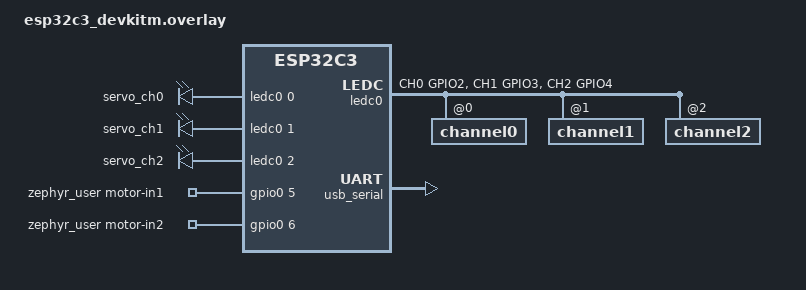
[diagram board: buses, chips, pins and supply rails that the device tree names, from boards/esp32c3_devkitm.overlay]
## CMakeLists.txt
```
cmake_minimum_required(VERSION 3.20.0)
find_package(Zephyr REQUIRED HINTS $ENV{ZEPHYR_BASE})

project(cyberbrick_lone VERSION 1.0.0)

target_sources(app PRIVATE
    src/main.c
    src/servo.c
    src/dc_motor.c
    src/web_server.c
    src/shell_cmds.c
)
```

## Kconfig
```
mainmenu "Cyberbrick L-ONE Robotic Arm"

config CYBERBRICK_WIFI_SSID
    string "SoftAP SSID"
    default "cyberbrick"
    help
      SSID broadcast by the on-board WiFi Access Point.

config CYBERBRICK_WIFI_PASSWORD
    string "SoftAP password (WPA2-PSK, empty = open network)"
    default "cyberbrick"
    help
      WPA2-PSK passphrase. Must be 8..63 characters, or empty for an
      open (no-security) network.

config CYBERBRICK_WIFI_CHANNEL
    int "SoftAP 2.4 GHz channel"
    default 6
    range 1 13
    help
      WiFi channel for the SoftAP. 1, 6, and 11 are non-overlapping.

config CYBERBRICK_AP_IP
    string "SoftAP IPv4 address (gateway)"
    default "192.168.4.1"
    help
      Static IPv4 address assigned to the AP interface. Clients reach
      the web UI at http://<this address>/. The DHCP pool starts 10
      addresses above this and serves the next 8 addresses.

config CYBERBRICK_AP_NETMASK
    string "SoftAP IPv4 netmask"
    default "255.255.255.0"

config CYBERBRICK_WEB_PORT
    int "Web server port"
    default 80
    range 1 65535
    help
      TCP port for the embedded HTTP server.

config CYBERBRICK_SERVO_MIN_US
    int "Servo minimum pulse width (microseconds)"
    default 500
    help
      Pulse width in us corresponding to 0 degrees.

config CYBERBRICK_SERVO_MAX_US
    int "Servo maximum pulse width (microseconds)"
    default 2500
    help
      Pulse width in us corresponding to 180 degrees.

source "Kconfig.zephyr"
```

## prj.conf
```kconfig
# ── Application ────────────────────────────────────────────────────────────────
CONFIG_CYBERBRICK_WIFI_SSID="cyberbrick"
CONFIG_CYBERBRICK_WIFI_PASSWORD="cyberbrick"
CONFIG_CYBERBRICK_WEB_PORT=80

# ── Heap / stack ────────────────────────────────────────────────────────────────
CONFIG_MAIN_STACK_SIZE=8192
CONFIG_SYSTEM_WORKQUEUE_STACK_SIZE=4096
CONFIG_HEAP_MEM_POOL_SIZE=65536

# ── GPIO ────────────────────────────────────────────────────────────────────────
CONFIG_GPIO=y

# ── PWM (LEDC on ESP32-S3) ──────────────────────────────────────────────────────
CONFIG_PWM=y

# ── Networking ──────────────────────────────────────────────────────────────────
CONFIG_NETWORKING=y
CONFIG_NET_IPV4=y
CONFIG_NET_TCP=y
CONFIG_NET_SOCKETS=y
CONFIG_NET_CONTEXT_RCVTIMEO=y

CONFIG_NET_BUF_RX_COUNT=16
CONFIG_NET_BUF_TX_COUNT=32
CONFIG_NET_PKT_RX_COUNT=8
CONFIG_NET_PKT_TX_COUNT=16
CONFIG_NET_BUF_DATA_SIZE=1280

CONFIG_NET_MAX_CONTEXTS=24
CONFIG_NET_MAX_CONN=24
CONFIG_NET_CONNECTION_MANAGER=y
CONFIG_NET_DHCPV4_SERVER=y
CONFIG_NET_DHCPV4_SERVER_ADDR_COUNT=8

# Recycle TIME_WAIT sockets quickly so contexts don't linger.
CONFIG_NET_TCP_TIME_WAIT_DELAY=250

# Required so net_mgmt callbacks receive the event payload via cb->info
CONFIG_NET_MGMT=y
CONFIG_NET_MGMT_EVENT=y
CONFIG_NET_MGMT_EVENT_INFO=y

# ── WiFi (SoftAP mode) ─────────────────────────────────────────────────────────
CONFIG_WIFI=y
CONFIG_WIFI_USAGE_MODE_AP=y
CONFIG_WIFI_LOG_LEVEL_WRN=y
CONFIG_NET_L2_ETHERNET=y
CONFIG_NET_L2_WIFI_MGMT=y
CONFIG_NET_L2_WIFI_SHELL=n

# ── Net logs (keep INF; flip to DBG if Wi-Fi misbehaves) ────────────────────────
CONFIG_NET_LOG=y
CONFIG_LOG_BUFFER_SIZE=4096

# ── ESP32 WiFi driver ───────────────────────────────────────────────────────────
# (No auto-DHCPv4 client — we run a DHCP server instead.)

# ── Logging ─────────────────────────────────────────────────────────────────────
CONFIG_LOG=y
CONFIG_LOG_DEFAULT_LEVEL=3
CONFIG_PRINTK=y

# ── Console (USB-Serial/JTAG on ESP32-S3) ──────────────────────────────────────
CONFIG_SERIAL=y
CONFIG_CONSOLE=y
CONFIG_UART_CONSOLE=y

# ── Shell (servo / motor commands) ────────────────────────────────────────────────
CONFIG_SHELL=y
CONFIG_SHELL_BACKEND_SERIAL=y
CONFIG_SHELL_PROMPT_UART="cyberbrick:~$ "
CONFIG_SHELL_STACK_SIZE=4096
CONFIG_KERNEL_SHELL=y

# ── Threads ─────────────────────────────────────────────────────────────────────
CONFIG_THREAD_NAME=y
CONFIG_POSIX_API=y
```

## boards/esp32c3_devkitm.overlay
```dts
/*
 * ESP32-C3 DevKitM / Super Mini — Cyberbrick L-ONE overlay
 *
 * Pin assignments (adjust to match your wiring):
 *   Servo 0 → GPIO 2  (LEDC channel 0)
 *   Servo 1 → GPIO 3  (LEDC channel 1)
 *   Servo 2 → GPIO 4  (LEDC channel 2)
 *   DC motor IN1 → GPIO 5
 *   DC motor IN2 → GPIO 6
 *
 * Console is routed to the native USB Serial/JTAG so a single USB-C
 * cable carries flash + logs + shell (matches the S3 board behavior).
 * If your DevKitM is wired to use the on-board CP210x/CH340 UART
 * bridge instead, comment out the chosen{} block below to fall back
 * to uart0.
 */

#include <zephyr/dt-bindings/pwm/pwm.h>

/ {
    chosen {
        zephyr,console = &usb_serial;
        zephyr,shell-uart = &usb_serial;
        zephyr,uart-mcumgr = &usb_serial;
    };

    aliases {
        servo0 = &servo_ch0;
        servo1 = &servo_ch1;
        servo2 = &servo_ch2;
    };

    servo_pwms {
        compatible = "pwm-leds";
        status = "okay";

        /* 20 ms period = 50 Hz, matching standard hobby servo */
        servo_ch0: servo_0 {
            pwms = <&ledc0 0 20000000 PWM_POLARITY_NORMAL>;
        };
        servo_ch1: servo_1 {
            pwms = <&ledc0 1 20000000 PWM_POLARITY_NORMAL>;
        };
        servo_ch2: servo_2 {
            pwms = <&ledc0 2 20000000 PWM_POLARITY_NORMAL>;
        };
    };

    /* DC motor GPIO lines accessed via zephyr,user */
    zephyr_user: zephyr,user {
        motor-in1-gpios = <&gpio0 5 GPIO_ACTIVE_HIGH>;
        motor-in2-gpios = <&gpio0 6 GPIO_ACTIVE_HIGH>;
    };
};

&ledc0 {
    pinctrl-0 = <&ledc0_default>;
    pinctrl-names = "default";
    status = "okay";
    #address-cells = <1>;
    #size-cells = <0>;

    channel0@0 {
        reg = <0x0>;
        timer = <0>;
    };
    channel1@1 {
        reg = <0x1>;
        timer = <0>;
    };
    channel2@2 {
        reg = <0x2>;
        timer = <0>;
    };
};

&pinctrl {
    ledc0_default: ledc0_default {
        group1 {
            pinmux = <LEDC_CH0_GPIO2>,
                     <LEDC_CH1_GPIO3>,
                     <LEDC_CH2_GPIO4>;
            output-enable;
        };
    };
};

&usb_serial {
    status = "okay";
};
```

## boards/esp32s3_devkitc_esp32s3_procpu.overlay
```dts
/*
 * ESP32-S3 Super Mini — Cyberbrick L-ONE overlay
 *
 * Pin assignments (adjust to match your wiring):
 *   Servo 0 → GPIO 1  (LEDC channel 0)
 *   Servo 1 → GPIO 9  (LEDC channel 1)
 *   Servo 2 → GPIO 2  (LEDC channel 2)
 *   DC motor IN1 → GPIO 10
 *   DC motor IN2 → GPIO 11
 */

#include <zephyr/dt-bindings/pwm/pwm.h>

/ {
    chosen {
        zephyr,console = &usb_serial;
        zephyr,shell-uart = &usb_serial;
        zephyr,uart-mcumgr = &usb_serial;
    };

    aliases {
        servo0   = &servo_ch0;
        servo1   = &servo_ch1;
        servo2   = &servo_ch2;
    };

    servo_pwms {
        compatible = "pwm-leds";
        status = "okay";

        /* 20 ms period = 50 Hz, matching standard hobby servo */
        servo_ch0: servo_0 {
            pwms = <&ledc0 0 20000000 PWM_POLARITY_NORMAL>;
        };
        servo_ch1: servo_1 {
            pwms = <&ledc0 1 20000000 PWM_POLARITY_NORMAL>;
        };
        servo_ch2: servo_2 {
            pwms = <&ledc0 2 20000000 PWM_POLARITY_NORMAL>;
        };
    };

    /* DC motor GPIO lines accessed via zephyr,user */
    zephyr_user: zephyr,user {
        motor-in1-gpios = <&gpio0 10 GPIO_ACTIVE_HIGH>;
        motor-in2-gpios = <&gpio0 11 GPIO_ACTIVE_HIGH>;
    };
};

&ledc0 {
    pinctrl-0 = <&ledc0_default>;
    pinctrl-names = "default";
    status = "okay";
    #address-cells = <1>;
    #size-cells = <0>;

    channel0@0 {
        reg = <0x0>;
        timer = <0>;
    };
    channel1@1 {
        reg = <0x1>;
        timer = <0>;
    };
    channel2@2 {
        reg = <0x2>;
        timer = <0>;
    };
};

&pinctrl {
    ledc0_default: ledc0_default {
        group1 {
            pinmux = <LEDC_CH0_GPIO1>,
                     <LEDC_CH1_GPIO9>,
                     <LEDC_CH2_GPIO2>;
            output-enable;
        };
    };
};

&usb_serial {
    status = "okay";
};
```

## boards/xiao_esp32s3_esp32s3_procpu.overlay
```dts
/*
 * Seeed Studio XIAO ESP32-S3 — Cyberbrick L-ONE overlay
 *
 * XIAO header pinout (silkscreen → GPIO):
 *   D0 = GPIO1   D1 = GPIO2   D2 = GPIO3
 *   D3 = GPIO4   D4 = GPIO5*  D5 = GPIO6*   (* I2C SDA/SCL)
 *   D6 = GPIO43  D7 = GPIO44  (UART0 TX/RX)
 *   D8 = GPIO7   D9 = GPIO8   D10 = GPIO9
 *
 * Cyberbrick pin assignments:
 *   Servo 0      → D0 / GPIO 1  (LEDC channel 0)
 *   Servo 1      → D1 / GPIO 2  (LEDC channel 1)
 *   Servo 2      → D2 / GPIO 3  (LEDC channel 2)
 *   DC motor IN1 → D3 / GPIO 4
 *   DC motor IN2 → D8 / GPIO 7
 *
 * Console is the built-in USB-C native USB Serial/JTAG (already chosen by
 * the in-tree board DTS), so a single cable provides flash + log + shell.
 */

#include <zephyr/dt-bindings/pwm/pwm.h>

/ {
    aliases {
        servo0 = &servo_ch0;
        servo1 = &servo_ch1;
        servo2 = &servo_ch2;
    };

    servo_pwms {
        compatible = "pwm-leds";
        status = "okay";

        /* 20 ms period = 50 Hz hobby servo standard */
        servo_ch0: servo_0 {
            pwms = <&ledc0 0 20000000 PWM_POLARITY_NORMAL>;
        };
        servo_ch1: servo_1 {
            pwms = <&ledc0 1 20000000 PWM_POLARITY_NORMAL>;
        };
        servo_ch2: servo_2 {
            pwms = <&ledc0 2 20000000 PWM_POLARITY_NORMAL>;
        };
    };

    /* DC motor GPIO lines accessed via zephyr,user */
    zephyr_user: zephyr,user {
        motor-in1-gpios = <&gpio0 4 GPIO_ACTIVE_HIGH>;
        motor-in2-gpios = <&gpio0 7 GPIO_ACTIVE_HIGH>;
    };
};

&ledc0 {
    pinctrl-0 = <&ledc0_default>;
    pinctrl-names = "default";
    status = "okay";
    #address-cells = <1>;
    #size-cells = <0>;

    channel0@0 {
        reg = <0x0>;
        timer = <0>;
    };
    channel1@1 {
        reg = <0x1>;
        timer = <0>;
    };
    channel2@2 {
        reg = <0x2>;
        timer = <0>;
    };
};

&pinctrl {
    ledc0_default: ledc0_default {
        group1 {
            pinmux = <LEDC_CH0_GPIO1>,
                     <LEDC_CH1_GPIO2>,
                     <LEDC_CH2_GPIO3>;
            output-enable;
        };
    };
};

&usb_serial {
    status = "okay";
};
```

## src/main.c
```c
#include <zephyr/kernel.h>
#include <zephyr/net/net_if.h>
#include <zephyr/net/net_mgmt.h>
#include <zephyr/net/wifi_mgmt.h>
#include <zephyr/net/dhcpv4_server.h>
#include <zephyr/logging/log.h>
#include <string.h>

#include "servo.h"
#include "dc_motor.h"
#include "web_server.h"

LOG_MODULE_REGISTER(main, LOG_LEVEL_INF);

/* ── WiFi SoftAP ────────────────────────────────────────────────────────────── */

#define MACSTR "%02X:%02X:%02X:%02X:%02X:%02X"
#define MAC2STR(a) (a)[0], (a)[1], (a)[2], (a)[3], (a)[4], (a)[5]

static struct net_mgmt_event_callback wifi_cb;

static void wifi_event_handler(struct net_mgmt_event_callback *cb,
                               uint64_t event, struct net_if *iface)
{
    ARG_UNUSED(iface);

    switch (event) {
    case NET_EVENT_WIFI_AP_ENABLE_RESULT:
        LOG_INF("SoftAP enabled — SSID \"%s\" on channel %d",
                CONFIG_CYBERBRICK_WIFI_SSID, CONFIG_CYBERBRICK_WIFI_CHANNEL);
        LOG_INF("Open http://%s in your browser", CONFIG_CYBERBRICK_AP_IP);
        break;
    case NET_EVENT_WIFI_AP_DISABLE_RESULT:
        LOG_WRN("SoftAP disabled");
        break;
    case NET_EVENT_WIFI_AP_STA_CONNECTED: {
        const struct wifi_ap_sta_info *sta =
            (const struct wifi_ap_sta_info *)cb->info;
        if (sta) {
            LOG_INF("Client joined: " MACSTR, MAC2STR(sta->mac));
        }
        break;
    }
    case NET_EVENT_WIFI_AP_STA_DISCONNECTED: {
        const struct wifi_ap_sta_info *sta =
            (const struct wifi_ap_sta_info *)cb->info;
        if (sta) {
            LOG_INF("Client left:   " MACSTR, MAC2STR(sta->mac));
        }
        break;
    }
    default:
        break;
    }
}

static int configure_ap_ipv4(struct net_if *iface)
{
    struct in_addr addr;
    struct in_addr netmask;

    if (net_addr_pton(AF_INET, CONFIG_CYBERBRICK_AP_IP, &addr) < 0) {
        LOG_ERR("Invalid AP IP: %s", CONFIG_CYBERBRICK_AP_IP);
        return -EINVAL;
    }
    if (net_addr_pton(AF_INET, CONFIG_CYBERBRICK_AP_NETMASK, &netmask) < 0) {
        LOG_ERR("Invalid AP netmask: %s", CONFIG_CYBERBRICK_AP_NETMASK);
        return -EINVAL;
    }

    net_if_ipv4_set_gw(iface, &addr);

    if (net_if_ipv4_addr_add(iface, &addr, NET_ADDR_MANUAL, 0) == NULL) {
        LOG_WRN("AP IP address may already be set");
    }
    if (!net_if_ipv4_set_netmask_by_addr(iface, &addr, &netmask)) {
        LOG_WRN("Failed to set AP netmask");
    }

    /* DHCP pool starts at <gw>+10 and serves NET_DHCPV4_SERVER_ADDR_COUNT IPs. */
    struct in_addr pool_start = addr;
    pool_start.s4_addr[3] += 10;

    int ret = net_dhcpv4_server_start(iface, &pool_start);
    if (ret < 0 && ret != -EALREADY) {
        LOG_ERR("DHCPv4 server start failed: %d", ret);
        return ret;
    }
    LOG_INF("DHCPv4 server running, pool starts at %d.%d.%d.%d",
            pool_start.s4_addr[0], pool_start.s4_addr[1],
            pool_start.s4_addr[2], pool_start.s4_addr[3]);
    return 0;
}

static int wifi_start_ap(void)
{
    struct net_if *iface = net_if_get_wifi_sap();
    if (!iface) {
        /* Fall back to default iface when AP/STA coexistence isn't enabled. */
        iface = net_if_get_default();
    }
    if (!iface) {
        LOG_ERR("No WiFi AP interface");
        return -ENODEV;
    }

    net_mgmt_init_event_callback(&wifi_cb, wifi_event_handler,
        NET_EVENT_WIFI_AP_ENABLE_RESULT |
        NET_EVENT_WIFI_AP_DISABLE_RESULT |
        NET_EVENT_WIFI_AP_STA_CONNECTED |
        NET_EVENT_WIFI_AP_STA_DISCONNECTED);
    net_mgmt_add_event_callback(&wifi_cb);

    int ret = configure_ap_ipv4(iface);
    if (ret < 0) {
        return ret;
    }

    const size_t psk_len = strlen(CONFIG_CYBERBRICK_WIFI_PASSWORD);
    struct wifi_connect_req_params ap_params = {
        .ssid        = (const uint8_t *)CONFIG_CYBERBRICK_WIFI_SSID,
        .ssid_length = strlen(CONFIG_CYBERBRICK_WIFI_SSID),
        .psk         = (const uint8_t *)CONFIG_CYBERBRICK_WIFI_PASSWORD,
        .psk_length  = psk_len,
        .channel     = CONFIG_CYBERBRICK_WIFI_CHANNEL,
        .band        = WIFI_FREQ_BAND_2_4_GHZ,
        .security    = (psk_len == 0) ? WIFI_SECURITY_TYPE_NONE
                                      : WIFI_SECURITY_TYPE_PSK,
        .mfp         = WIFI_MFP_OPTIONAL,
    };

    LOG_INF("Starting SoftAP \"%s\" (%s)", CONFIG_CYBERBRICK_WIFI_SSID,
            (psk_len == 0) ? "open" : "WPA2-PSK");

    ret = net_mgmt(NET_REQUEST_WIFI_AP_ENABLE, iface,
                   &ap_params, sizeof(ap_params));
    if (ret < 0) {
        LOG_ERR("AP enable failed: %d", ret);
        return ret;
    }
    return 0;
}

/* ── Main ───────────────────────────────────────────────────────────────────── */

int main(void)
{
    LOG_INF("Cyberbrick L-ONE starting");

    int ret;

    ret = servo_init();
    if (ret < 0) {
        LOG_ERR("Servo init failed: %d", ret);
        return ret;
    }

    ret = dc_motor_init();
    if (ret < 0) {
        LOG_ERR("DC motor init failed: %d", ret);
        return ret;
    }

    ret = wifi_start_ap();
    if (ret < 0) {
        LOG_ERR("WiFi AP init failed: %d — running without network", ret);
        /* Continue anyway so servo/motor still work over serial shell */
    } else {
        web_server_start();
    }

    while (true) {
        k_sleep(K_SECONDS(5));
    }

    return 0;
}
```

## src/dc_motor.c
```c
#include "dc_motor.h"

#include <zephyr/devicetree.h>
#include <zephyr/drivers/gpio.h>
#include <zephyr/logging/log.h>

LOG_MODULE_REGISTER(dc_motor, LOG_LEVEL_INF);

static const struct gpio_dt_spec in1 =
    GPIO_DT_SPEC_GET(DT_PATH(zephyr_user), motor_in1_gpios);
static const struct gpio_dt_spec in2 =
    GPIO_DT_SPEC_GET(DT_PATH(zephyr_user), motor_in2_gpios);

static motor_direction_t current_dir = MOTOR_STOP;

int dc_motor_init(void)
{
    if (!gpio_is_ready_dt(&in1) || !gpio_is_ready_dt(&in2)) {
        LOG_ERR("DC motor GPIO not ready");
        return -ENODEV;
    }

    int ret;

    ret = gpio_pin_configure_dt(&in1, GPIO_OUTPUT_INACTIVE);
    if (ret < 0) {
        return ret;
    }

    ret = gpio_pin_configure_dt(&in2, GPIO_OUTPUT_INACTIVE);
    if (ret < 0) {
        return ret;
    }

    LOG_INF("DC motor ready");
    return 0;
}

int dc_motor_set(motor_direction_t dir)
{
    int ret;

    switch (dir) {
    case MOTOR_FORWARD:
        /* Forward: IN1=HIGH, IN2=LOW */
        ret = gpio_pin_set_dt(&in1, 1);
        if (ret < 0) return ret;
        ret = gpio_pin_set_dt(&in2, 0);
        break;
    case MOTOR_REVERSE:
        ret = gpio_pin_set_dt(&in1, 0);
        if (ret < 0) return ret;
        ret = gpio_pin_set_dt(&in2, 1);
        break;
    case MOTOR_STOP:
    default:
        ret = gpio_pin_set_dt(&in1, 0);
        if (ret < 0) return ret;
        ret = gpio_pin_set_dt(&in2, 0);
        break;
    }

    if (ret < 0) {
        LOG_ERR("Motor GPIO set failed: %d", ret);
        return ret;
    }

    current_dir = dir;
    LOG_DBG("Motor → %s", dir == MOTOR_FORWARD ? "forward" :
                           dir == MOTOR_REVERSE ? "reverse" : "stop");
    return 0;
}

motor_direction_t dc_motor_get(void)
{
    return current_dir;
}
```

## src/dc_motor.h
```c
#pragma once

#include <zephyr/kernel.h>

typedef enum {
    MOTOR_STOP = 0,
    MOTOR_FORWARD,
    MOTOR_REVERSE,
} motor_direction_t;

int dc_motor_init(void);
int dc_motor_set(motor_direction_t dir);
motor_direction_t dc_motor_get(void);
```

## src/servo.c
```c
#include "servo.h"

#include <zephyr/devicetree.h>
#include <zephyr/drivers/pwm.h>
#include <zephyr/logging/log.h>

LOG_MODULE_REGISTER(servo, LOG_LEVEL_INF);

/* PWM period: 20 ms = 20 000 000 ns (50 Hz) */
#define SERVO_PERIOD_NS  20000000U

/* Pulse width range in nanoseconds */
#define SERVO_MIN_NS  (CONFIG_CYBERBRICK_SERVO_MIN_US * 1000U)
#define SERVO_MAX_NS  (CONFIG_CYBERBRICK_SERVO_MAX_US * 1000U)
#define SERVO_MID_NS  ((SERVO_MIN_NS + SERVO_MAX_NS) / 2U)

static const struct pwm_dt_spec servos[SERVO_COUNT] = {
    PWM_DT_SPEC_GET(DT_ALIAS(servo0)),
    PWM_DT_SPEC_GET(DT_ALIAS(servo1)),
    PWM_DT_SPEC_GET(DT_ALIAS(servo2)),
};

/*
 * Per-servo type:
 *   id 0 ("Servo 1") = 360° continuous rotation
 *   id 1 ("Servo 2") = 360° continuous rotation
 *   id 2 ("Servo 3") = 180° positional
 */
static const servo_type_t servo_types[SERVO_COUNT] = {
    SERVO_TYPE_CONTINUOUS,
    SERVO_TYPE_CONTINUOUS,
    SERVO_TYPE_POSITIONAL,
};

/* Cached last-set values (union by index — angle for positional, speed for continuous) */
static uint8_t angles[SERVO_COUNT];
static int8_t  speeds[SERVO_COUNT];

servo_type_t servo_get_type(uint8_t id)
{
    if (id >= SERVO_COUNT) {
        return SERVO_TYPE_POSITIONAL;
    }
    return servo_types[id];
}

static int pwm_apply(uint8_t id, uint32_t pulse_ns)
{
    int ret = pwm_set_dt(&servos[id], SERVO_PERIOD_NS, pulse_ns);
    if (ret < 0) {
        LOG_ERR("Servo %d set failed: %d", id, ret);
    }
    return ret;
}

int servo_init(void)
{
    for (int i = 0; i < SERVO_COUNT; i++) {
        if (!pwm_is_ready_dt(&servos[i])) {
            LOG_ERR("Servo %d PWM device not ready", i);
            return -ENODEV;
        }
    }

    /* Safe defaults: continuous → stop, positional → center */
    for (uint8_t i = 0; i < SERVO_COUNT; i++) {
        int ret;
        if (servo_types[i] == SERVO_TYPE_CONTINUOUS) {
            ret = servo_set_speed(i, 0);
        } else {
            ret = servo_set_angle(i, 90);
        }
        if (ret < 0) {
            return ret;
        }
    }

    LOG_INF("Servo subsystem ready");
    return 0;
}

int servo_set_angle(uint8_t id, uint8_t angle)
{
    if (id >= SERVO_COUNT) {
        return -EINVAL;
    }
    if (servo_types[id] != SERVO_TYPE_POSITIONAL) {
        LOG_WRN("Servo %d is continuous; use servo_set_speed()", id);
        return -ENOTSUP;
    }
    if (angle > 180) {
        angle = 180;
    }

    uint32_t pulse_ns = SERVO_MIN_NS +
        ((uint32_t)angle * (SERVO_MAX_NS - SERVO_MIN_NS)) / 180U;

    int ret = pwm_apply(id, pulse_ns);
    if (ret < 0) {
        return ret;
    }

    angles[id] = angle;
    LOG_DBG("Servo %d → %d° (pulse %u ns)", id, angle, pulse_ns);
    return 0;
}

uint8_t servo_get_angle(uint8_t id)
{
    if (id >= SERVO_COUNT) {
        return 0;
    }
    return angles[id];
}

int servo_set_speed(uint8_t id, int8_t speed)
{
    if (id >= SERVO_COUNT) {
        return -EINVAL;
    }
    if (servo_types[id] != SERVO_TYPE_CONTINUOUS) {
        LOG_WRN("Servo %d is positional; use servo_set_angle()", id);
        return -ENOTSUP;
    }
    if (speed >  100) speed =  100;
    if (speed < -100) speed = -100;

    /*
     * speed:  -100  ->  SERVO_MIN_NS   (full one direction)
     *            0  ->  SERVO_MID_NS   (stop)
     *         +100  ->  SERVO_MAX_NS   (full other direction)
     */
    int32_t half_span = (int32_t)((SERVO_MAX_NS - SERVO_MIN_NS) / 2U);
    int32_t pulse_ns  = (int32_t)SERVO_MID_NS + (speed * half_span) / 100;

    int ret = pwm_apply(id, (uint32_t)pulse_ns);
    if (ret < 0) {
        return ret;
    }

    speeds[id] = speed;
    LOG_DBG("Servo %d → speed %d (pulse %d ns)", id, speed, pulse_ns);
    return 0;
}

int8_t servo_get_speed(uint8_t id)
{
    if (id >= SERVO_COUNT) {
        return 0;
    }
    return speeds[id];
}
```

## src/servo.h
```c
#pragma once

#include <zephyr/kernel.h>

#define SERVO_COUNT 3

typedef enum {
    SERVO_TYPE_POSITIONAL = 0,   /* 0..180° angle */
    SERVO_TYPE_CONTINUOUS = 1,   /* -100..+100 speed (0 = stop) */
} servo_type_t;

int servo_init(void);

servo_type_t servo_get_type(uint8_t id);

/* Positional servo (SERVO_TYPE_POSITIONAL): angle 0..180. */
int servo_set_angle(uint8_t id, uint8_t angle);
uint8_t servo_get_angle(uint8_t id);

/* Continuous-rotation servo (SERVO_TYPE_CONTINUOUS): speed -100..+100, 0 = stop. */
int servo_set_speed(uint8_t id, int8_t speed);
int8_t servo_get_speed(uint8_t id);
```

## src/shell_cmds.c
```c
/*
 * Shell commands for manual servo / DC-motor control.
 *
 *   servo set <id> <angle>     -- id 0..2, angle 0..180
 *   servo get <id>
 *   motor fwd | rev | stop
 *   motor status
 */

#include <zephyr/kernel.h>
#include <zephyr/shell/shell.h>
#include <stdlib.h>

#include "servo.h"
#include "dc_motor.h"

/* ── servo ─────────────────────────────────────────────────────────────────── */

static int cmd_servo_set(const struct shell *sh, size_t argc, char **argv)
{
    if (argc != 3) {
        shell_error(sh, "usage: servo set <id 0..%d> <angle 0..180>",
                    SERVO_COUNT - 1);
        return -EINVAL;
    }

    int id = atoi(argv[1]);
    int angle = atoi(argv[2]);

    if (id < 0 || id >= SERVO_COUNT) {
        shell_error(sh, "invalid id %d (range 0..%d)", id, SERVO_COUNT - 1);
        return -EINVAL;
    }
    if (servo_get_type((uint8_t)id) != SERVO_TYPE_POSITIONAL) {
        shell_error(sh,
            "servo %d is continuous; use `servo speed %d <-100..100>`",
            id, id);
        return -ENOTSUP;
    }
    if (angle < 0 || angle > 180) {
        shell_error(sh, "invalid angle %d (range 0..180)", angle);
        return -EINVAL;
    }

    int ret = servo_set_angle((uint8_t)id, (uint8_t)angle);
    if (ret < 0) {
        shell_error(sh, "servo_set_angle failed: %d", ret);
        return ret;
    }

    shell_print(sh, "servo %d -> %d°", id, angle);
    return 0;
}

static int cmd_servo_speed(const struct shell *sh, size_t argc, char **argv)
{
    if (argc != 3) {
        shell_error(sh, "usage: servo speed <id 0..%d> <-100..100>",
                    SERVO_COUNT - 1);
        return -EINVAL;
    }

    int id = atoi(argv[1]);
    int speed = atoi(argv[2]);

    if (id < 0 || id >= SERVO_COUNT) {
        shell_error(sh, "invalid id %d (range 0..%d)", id, SERVO_COUNT - 1);
        return -EINVAL;
    }
    if (servo_get_type((uint8_t)id) != SERVO_TYPE_CONTINUOUS) {
        shell_error(sh,
            "servo %d is positional; use `servo set %d <0..180>`", id, id);
        return -ENOTSUP;
    }
    if (speed < -100 || speed > 100) {
        shell_error(sh, "invalid speed %d (range -100..100)", speed);
        return -EINVAL;
    }

    int ret = servo_set_speed((uint8_t)id, (int8_t)speed);
    if (ret < 0) {
        shell_error(sh, "servo_set_speed failed: %d", ret);
        return ret;
    }

    shell_print(sh, "servo %d -> speed %d", id, speed);
    return 0;
}

static void print_one(const struct shell *sh, uint8_t id)
{
    if (servo_get_type(id) == SERVO_TYPE_CONTINUOUS) {
        shell_print(sh, "servo %u: speed %d (continuous)",
                    id, servo_get_speed(id));
    } else {
        shell_print(sh, "servo %u: %u° (positional)",
                    id, servo_get_angle(id));
    }
}

static int cmd_servo_get(const struct shell *sh, size_t argc, char **argv)
{
    if (argc == 2) {
        int id = atoi(argv[1]);
        if (id < 0 || id >= SERVO_COUNT) {
            shell_error(sh, "invalid id %d", id);
            return -EINVAL;
        }
        print_one(sh, (uint8_t)id);
        return 0;
    }

    /* No id -> dump all */
    for (uint8_t i = 0; i < SERVO_COUNT; i++) {
        print_one(sh, i);
    }
    return 0;
}

SHELL_STATIC_SUBCMD_SET_CREATE(sub_servo,
    SHELL_CMD_ARG(set,   NULL, "Set positional servo angle: set <id> <0..180>",
                  cmd_servo_set, 3, 0),
    SHELL_CMD_ARG(speed, NULL, "Set continuous servo speed: speed <id> <-100..100>",
                  cmd_servo_speed, 3, 0),
    SHELL_CMD_ARG(get,   NULL, "Get servo state: get [id]",
                  cmd_servo_get, 1, 1),
    SHELL_SUBCMD_SET_END
);

SHELL_CMD_REGISTER(servo, &sub_servo, "Servo control", NULL);

/* ── motor ─────────────────────────────────────────────────────────────────── */

static const char *dir_name(motor_direction_t d)
{
    switch (d) {
    case MOTOR_FORWARD: return "forward";
    case MOTOR_REVERSE: return "reverse";
    case MOTOR_STOP:    return "stop";
    default:            return "?";
    }
}

static int set_motor(const struct shell *sh, motor_direction_t dir)
{
    int ret = dc_motor_set(dir);
    if (ret < 0) {
        shell_error(sh, "dc_motor_set failed: %d", ret);
        return ret;
    }
    shell_print(sh, "motor: %s", dir_name(dir));
    return 0;
}

static int cmd_motor_fwd(const struct shell *sh, size_t argc, char **argv)
{
    ARG_UNUSED(argc); ARG_UNUSED(argv);
    return set_motor(sh, MOTOR_FORWARD);
}

static int cmd_motor_rev(const struct shell *sh, size_t argc, char **argv)
{
    ARG_UNUSED(argc); ARG_UNUSED(argv);
    return set_motor(sh, MOTOR_REVERSE);
}

static int cmd_motor_stop(const struct shell *sh, size_t argc, char **argv)
{
    ARG_UNUSED(argc); ARG_UNUSED(argv);
    return set_motor(sh, MOTOR_STOP);
}

static int cmd_motor_status(const struct shell *sh, size_t argc, char **argv)
{
    ARG_UNUSED(argc); ARG_UNUSED(argv);
    shell_print(sh, "motor: %s", dir_name(dc_motor_get()));
    return 0;
}

SHELL_STATIC_SUBCMD_SET_CREATE(sub_motor,
    SHELL_CMD(fwd,    NULL, "Drive motor forward",  cmd_motor_fwd),
    SHELL_CMD(rev,    NULL, "Drive motor reverse",  cmd_motor_rev),
    SHELL_CMD(stop,   NULL, "Stop motor",           cmd_motor_stop),
    SHELL_CMD(status, NULL, "Show motor state",     cmd_motor_status),
    SHELL_SUBCMD_SET_END
);

SHELL_CMD_REGISTER(motor, &sub_motor, "DC motor control", NULL);
```

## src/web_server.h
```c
#pragma once

#include <zephyr/kernel.h>

/* Starts the HTTP server thread. Returns 0 on success. */
int web_server_start(void);
```
